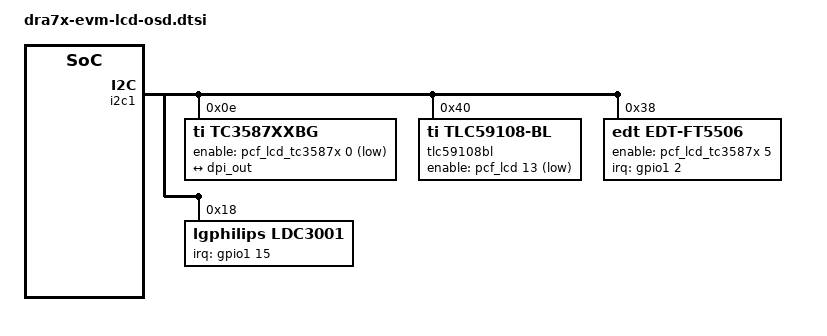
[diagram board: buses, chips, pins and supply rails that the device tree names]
/*
 * Copyright (C) 2013 Texas Instruments Incorporated - http://www.ti.com/
 *
 * This program is free software; you can redistribute it and/or modify
 * it under the terms of the GNU General Public License version 2 as
 * published by the Free Software Foundation.
 */

/ {
	aliases {
		display0 = &tc3587xxbg;
		display1 = &hdmi0;
	};
};

&i2c1 {
	/* LCD Bridge Chip for driving DPI-to-DSI video to the LCD Panel */
	tc3587xxbg: tc3587xxbg@0E {
		compatible = "ti,tc3587xxbg";
		reg = <0x0E>;
		enable-gpios = <&pcf_lcd_tc3587x 0 GPIO_ACTIVE_LOW>;  /* P0, MASTER_POWER_ENn */

		port@0 {
			tc_in: endpoint {
				remote-endpoint = <&dpi_out>;
			};
		};

	};

	/* TLC chip for LCD panel power and backlight  */
	tlc59108bl: tlc59108bl@40 {
		compatible = "ti,tlc59108-bl";
		reg = <0x40>;
		enable-gpios = <&pcf_lcd 13 GPIO_ACTIVE_LOW>;  /* P15, CON_LCD_PWR_DN */
	};

	edt-ft5506@38 {
		status = "okay";
		compatible = "edt,edt-ft5506", "edt,edt-ft5x06";

		reg = <0x38>;

		interrupt-parent = <&gpio1>;
		interrupts = <2 IRQ_TYPE_EDGE_FALLING>;

		/* GPIO line is inverted before going to touch panel */
		enable-gpios = <&pcf_lcd_tc3587x 5 GPIO_ACTIVE_HIGH>;

		touchscreen-size-x = <1920>;
		touchscreen-size-y = <1200>;
	};

	ldc3001:ldc3001@18 {
		compatible = "lgphilips,ldc3001";
		status = "okay";
		reg = <0x18>;
		interrupt-parent = <&gpio1>;
		interrupts = <15 IRQ_TYPE_LEVEL_HIGH>;
		max-touch-points = <10>;
		res-x = <1280>;
		res-y = <800>;
	};


};

/* audio codec i2c address moved to 0x19 for 10" display config */
&tlv320aic3106 {
      reg = <0x19>;
};

&dss {
	ports {
		#address-cells = <1>;
		#size-cells = <0>;

		port@0 {
			reg = <0>;

			dpi_out: endpoint {
				remote-endpoint = <&tc_in>;
				data-lines = <24>;
			};
		};

	};
};
